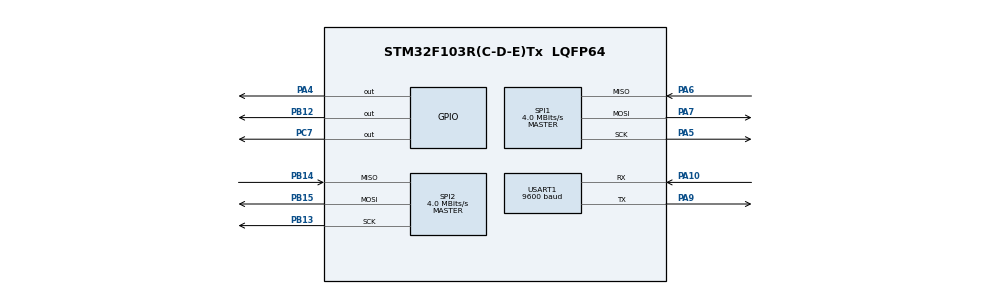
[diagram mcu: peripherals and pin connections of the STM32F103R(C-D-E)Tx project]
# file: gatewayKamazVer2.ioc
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FREERTOS.Tasks01=defaultTask,0,128,StartDefaultTask,Default,NULL
Mcu.Family=STM32F1
Mcu.Name=STM32F103R(C-D-E)Tx
Mcu.Package=LQFP64
NVIC.PriorityGroup=NVIC_PRIORITYGROUP_4
PA10.Mode=Asynchronous
PA10.Signal=USART1_RX
PA4.Signal=GPIO_Output
PA5.Mode=Full_Duplex_Master
PA5.Signal=SPI1_SCK
PA6.Mode=Full_Duplex_Master
PA6.Signal=SPI1_MISO
PA7.Mode=Full_Duplex_Master
PA7.Signal=SPI1_MOSI
PA9.Mode=Asynchronous
PA9.Signal=USART1_TX
PB12.Signal=GPIO_Output
PB13.Mode=Full_Duplex_Master
PB13.Signal=SPI2_SCK
PB14.Mode=Full_Duplex_Master
PB14.Signal=SPI2_MISO
PB15.Mode=Full_Duplex_Master
PB15.Signal=SPI2_MOSI
PC7.Signal=GPIO_Output
ProjectManager.HeapSize=0x200
ProjectManager.StackSize=0x400
ProjectManager.TargetToolchain=MDK-ARM V5
RCC.AHBFreq_Value=8000000
RCC.APB1Freq_Value=8000000
RCC.APB1TimFreq_Value=8000000
RCC.APB2Freq_Value=8000000
RCC.APB2TimFreq_Value=8000000
RCC.HCLKFreq_Value=8000000
SPI1.CalculateBaudRate=4.0 MBits/s
SPI1.Direction=SPI_DIRECTION_2LINES
SPI1.Mode=SPI_MODE_MASTER
SPI1.VirtualType=VM_MASTER
SPI2.CalculateBaudRate=4.0 MBits/s
SPI2.Direction=SPI_DIRECTION_2LINES
SPI2.Mode=SPI_MODE_MASTER
SPI2.VirtualType=VM_MASTER
USART1.BaudRate=9600
USART1.VirtualMode=VM_ASYNC
VP_FREERTOS_VS_ENABLE.Mode=Enabled
VP_SYS_VS_ND.Mode=No_Debug
board=gatewayKamazVer2

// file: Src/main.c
/**
  ******************************************************************************
  * File Name          : main.c
  * Description        : Main program body
  ******************************************************************************
  * This notice applies to any and all portions of this file
  * that are not between comment pairs USER CODE BEGIN and
  * USER CODE END. Other portions of this file, whether
  * inserted by the user or by software development tools
  * are owned by their respective copyright owners.
  *
  * Copyright (c) 2018 STMicroelectronics International N.V.
  * All rights reserved.
  *
  * Redistribution and use in source and binary forms, with or without
  * modification, are permitted, provided that the following conditions are met:
  *
  * 1. Redistribution of source code must retain the above copyright notice,
  *    this list of conditions and the following disclaimer.
  * 2. Redistributions in binary form must reproduce the above copyright notice,
  *    this list of conditions and the following disclaimer in the documentation
  *    and/or other materials provided with the distribution.
  * 3. Neither the name of STMicroelectronics nor the names of other
  *    contributors to this software may be used to endorse or promote products
  *    derived from this software without specific written permission.
  * 4. This software, including modifications and/or derivative works of this
  *    software, must execute solely and exclusively on microcontroller or
  *    microprocessor devices manufactured by or for STMicroelectronics.
  * 5. Redistribution and use of this software other than as permitted under
  *    this license is void and will automatically terminate your rights under
  *    this license.
  *
  * THIS SOFTWARE IS PROVIDED BY STMICROELECTRONICS AND CONTRIBUTORS "AS IS"
  * AND ANY EXPRESS, IMPLIED OR STATUTORY WARRANTIES, INCLUDING, BUT NOT
  * LIMITED TO, THE IMPLIED WARRANTIES OF MERCHANTABILITY, FITNESS FOR A
  * PARTICULAR PURPOSE AND NON-INFRINGEMENT OF THIRD PARTY INTELLECTUAL PROPERTY
  * RIGHTS ARE DISCLAIMED TO THE FULLEST EXTENT PERMITTED BY LAW. IN NO EVENT
  * SHALL STMICROELECTRONICS OR CONTRIBUTORS BE LIABLE FOR ANY DIRECT, INDIRECT,
  * INCIDENTAL, SPECIAL, EXEMPLARY, OR CONSEQUENTIAL DAMAGES (INCLUDING, BUT NOT
  * LIMITED TO, PROCUREMENT OF SUBSTITUTE GOODS OR SERVICES; LOSS OF USE, DATA,
  * OR PROFITS; OR BUSINESS INTERRUPTION) HOWEVER CAUSED AND ON ANY THEORY OF
  * LIABILITY, WHETHER IN CONTRACT, STRICT LIABILITY, OR TORT (INCLUDING
  * NEGLIGENCE OR OTHERWISE) ARISING IN ANY WAY OUT OF THE USE OF THIS SOFTWARE,
  * EVEN IF ADVISED OF THE POSSIBILITY OF SUCH DAMAGE.
  *
  ******************************************************************************
  */

#include "main.h"
#include "stm32f1xx_hal.h"
#include "cmsis_os.h"
#include "spi.h"
#include "usart.h"
#include "gpio.h"
#include "CANSPI.h"
#include "MCP2515.h"

/* USER CODE BEGIN PV */
/* Private variables ---------------------------------------------------------*/

/* USER CODE END PV */

void SystemClock_Config(void);
void MX_FREERTOS_Init(void);

/* USER CODE BEGIN PFP */
/* Private function prototypes -----------------------------------------------*/

/* USER CODE END PFP */

int main(void)
{

  /* MCU Configuration----------------------------------------------------------*/

  /* Reset of all peripherals, Initializes the Flash interface and the Systick. */
  HAL_Init();

  /* Configure the system clock */
  SystemClock_Config();

  /* Initialize all configured peripherals */
  MX_GPIO_Init();
  MX_USART1_UART_Init();
  MX_SPI1_Init();
  MX_SPI2_Init();

	if (CANSPI_Initialize())
		HAL_GPIO_WritePin(GPIOC,GPIO_PIN_7, GPIO_PIN_SET);

  /* Call init function for freertos objects (in freertos.c) */
  MX_FREERTOS_Init();

  /* Start scheduler */
  osKernelStart();

  /* We should never get here as control is now taken by the scheduler */

  /* Infinite loop */
  while (1)
  {

  }

}

/** System Clock Configuration
*/
void SystemClock_Config(void)
{

  RCC_OscInitTypeDef RCC_OscInitStruct;
  RCC_ClkInitTypeDef RCC_ClkInitStruct;

    /**Initializes the CPU, AHB and APB busses clocks
    */
  RCC_OscInitStruct.OscillatorType = RCC_OSCILLATORTYPE_HSI;
  RCC_OscInitStruct.HSIState = RCC_HSI_ON;
  RCC_OscInitStruct.HSICalibrationValue = 16;
  RCC_OscInitStruct.PLL.PLLState = RCC_PLL_NONE;
  if (HAL_RCC_OscConfig(&RCC_OscInitStruct) != HAL_OK)
  {
    _Error_Handler(__FILE__, __LINE__);
  }

    /**Initializes the CPU, AHB and APB busses clocks
    */
  RCC_ClkInitStruct.ClockType = RCC_CLOCKTYPE_HCLK|RCC_CLOCKTYPE_SYSCLK
                              |RCC_CLOCKTYPE_PCLK1|RCC_CLOCKTYPE_PCLK2;
  RCC_ClkInitStruct.SYSCLKSource = RCC_SYSCLKSOURCE_HSI;
  RCC_ClkInitStruct.AHBCLKDivider = RCC_SYSCLK_DIV1;
  RCC_ClkInitStruct.APB1CLKDivider = RCC_HCLK_DIV1;
  RCC_ClkInitStruct.APB2CLKDivider = RCC_HCLK_DIV1;

  if (HAL_RCC_ClockConfig(&RCC_ClkInitStruct, FLASH_LATENCY_0) != HAL_OK)
  {
    _Error_Handler(__FILE__, __LINE__);
  }

    /**Configure the Systick interrupt time
    */
  HAL_SYSTICK_Config(HAL_RCC_GetHCLKFreq()/1000);

    /**Configure the Systick
    */
  HAL_SYSTICK_CLKSourceConfig(SYSTICK_CLKSOURCE_HCLK);

  /* SysTick_IRQn interrupt configuration */
  HAL_NVIC_SetPriority(SysTick_IRQn, 15, 0);
}

void _Error_Handler(char * file, int line)
{
  while(1)
  {
  }
}

/************************ (C) COPYRIGHT STMicroelectronics *****END OF FILE****/

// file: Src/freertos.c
/**
  ******************************************************************************
  * File Name          : freertos.c
  * Description        : Code for freertos applications
  ******************************************************************************
  * This notice applies to any and all portions of this file
  * that are not between comment pairs USER CODE BEGIN and
  * USER CODE END. Other portions of this file, whether
  * inserted by the user or by software development tools
  * are owned by their respective copyright owners.
  *
  * Copyright (c) 2018 STMicroelectronics International N.V.
  * All rights reserved.
  *
  * Redistribution and use in source and binary forms, with or without
  * modification, are permitted, provided that the following conditions are met:
  *
  * 1. Redistribution of source code must retain the above copyright notice,
  *    this list of conditions and the following disclaimer.
  * 2. Redistributions in binary form must reproduce the above copyright notice,
  *    this list of conditions and the following disclaimer in the documentation
  *    and/or other materials provided with the distribution.
  * 3. Neither the name of STMicroelectronics nor the names of other
  *    contributors to this software may be used to endorse or promote products
  *    derived from this software without specific written permission.
  * 4. This software, including modifications and/or derivative works of this
  *    software, must execute solely and exclusively on microcontroller or
  *    microprocessor devices manufactured by or for STMicroelectronics.
  * 5. Redistribution and use of this software other than as permitted under
  *    this license is void and will automatically terminate your rights under
  *    this license.
  *
  * THIS SOFTWARE IS PROVIDED BY STMICROELECTRONICS AND CONTRIBUTORS "AS IS"
  * AND ANY EXPRESS, IMPLIED OR STATUTORY WARRANTIES, INCLUDING, BUT NOT
  * LIMITED TO, THE IMPLIED WARRANTIES OF MERCHANTABILITY, FITNESS FOR A
  * PARTICULAR PURPOSE AND NON-INFRINGEMENT OF THIRD PARTY INTELLECTUAL PROPERTY
  * RIGHTS ARE DISCLAIMED TO THE FULLEST EXTENT PERMITTED BY LAW. IN NO EVENT
  * SHALL STMICROELECTRONICS OR CONTRIBUTORS BE LIABLE FOR ANY DIRECT, INDIRECT,
  * INCIDENTAL, SPECIAL, EXEMPLARY, OR CONSEQUENTIAL DAMAGES (INCLUDING, BUT NOT
  * LIMITED TO, PROCUREMENT OF SUBSTITUTE GOODS OR SERVICES; LOSS OF USE, DATA,
  * OR PROFITS; OR BUSINESS INTERRUPTION) HOWEVER CAUSED AND ON ANY THEORY OF
  * LIABILITY, WHETHER IN CONTRACT, STRICT LIABILITY, OR TORT (INCLUDING
  * NEGLIGENCE OR OTHERWISE) ARISING IN ANY WAY OUT OF THE USE OF THIS SOFTWARE,
  * EVEN IF ADVISED OF THE POSSIBILITY OF SUCH DAMAGE.
  *
  ******************************************************************************
  */

#include "FreeRTOS.h"
#include "task.h"
#include "cmsis_os.h"
#include "usart.h"
#include "CANSPI.h"
#include "can.h"

osThreadId defaultTaskHandle;

/* USER CODE BEGIN Variables */

osThreadId xHandle;
xQueueHandle xMessageUsart;
xQueueHandle xMessageCAN = NULL;

unsigned char accel_pedal = 0;
float xbr_accel_demand = 0.0;
char tc_gear = 'N'; // current transmission gear

/* USER CODE END Variables */

void StartDefaultTask(void const * argument);

void MX_FREERTOS_Init(void); /* (MISRA C 2004 rule 8.1) */

/* USER CODE BEGIN FunctionPrototypes */
void vTaskSendMessageUSART(void* param);
void vTaskRecieveMessageUsart(void* param);
void vTaskSendMessageSPI1(void *param);
void vTaskRecieveMessageSPI1(void* param);

/* USER CODE END FunctionPrototypes */

/* Hook prototypes */

/* Init FreeRTOS */

void MX_FREERTOS_Init(void) {

  /* Create the thread(s) */
  /* definition and creation of defaultTask */
  osThreadDef(defaultTask, StartDefaultTask, osPriorityNormal, 0, 128);
  defaultTaskHandle = osThreadCreate(osThread(defaultTask), NULL);

  /* USER CODE BEGIN RTOS_THREADS */
  /* add threads, ... */
	xTaskCreate(vTaskSendMessageUSART, "Send a message to USART", configMINIMAL_STACK_SIZE, NULL, 1, &xHandle);
	xTaskCreate(vTaskRecieveMessageUsart, "Recieve a message to USART", configMINIMAL_STACK_SIZE, NULL, 0, &xHandle);
	xTaskCreate(vTaskRecieveMessageSPI1, "Send a message to SPI 1", configMINIMAL_STACK_SIZE, NULL, 0, &xHandle);
 	xTaskCreate(vTaskAddMessageCAN_EEC2, "Send EEC2 message to CAN", configMINIMAL_STACK_SIZE, NULL, 0, &xHandle);
 	xTaskCreate(vTaskAddMessageCAN_XBR, "Send XBR message to CAN", configMINIMAL_STACK_SIZE, NULL, 0, &xHandle);
 	xTaskCreate(vTaskAddMessageCAN_TC1, "Send TC1 message to CAN", configMINIMAL_STACK_SIZE, NULL, 0, &xHandle);

 /* USER CODE END RTOS_THREADS */

  /* USER CODE BEGIN RTOS_QUEUES */
  /* add queues, ... */
	 xMessageUsart = xQueueCreate(9, sizeof(unsigned char)); //Queue for send data on USART
	 xMessageCAN = xQueueCreate(9, sizeof(uCAN_MSG)); //Queue for send data on USART
  /* USER CODE END RTOS_QUEUES */
}

/* StartDefaultTask function */
void StartDefaultTask(void const * argument)
{

  for(;;)
  {
    osDelay(1);
  }
}

/* USER CODE BEGIN Application */
 void vTaskSendMessageUSART(void* param)
{
	uint8_t incommingData;
	portBASE_TYPE xStatus;
	const portTickType xTickWait = 100;

	while(1)
	{
		if (uxQueueMessagesWaiting(xMessageUsart)!=0)
		{
		}
		xStatus = xQueueReceive(xMessageUsart, &incommingData, xTickWait);
		if (xStatus == pdPASS)
		{
			HAL_UART_Transmit(&huart1, &incommingData, 1, 500);
		}
		taskYIELD();
	}

}

void vTaskRecieveMessageUsart(void* param)
{
	uint8_t outgoingData;
	portBASE_TYPE xStatus;
	while(1)
	{
		HAL_UART_Receive(&huart1, &outgoingData, 1, 500);
		xStatus = xQueueSendToBack(xMessageUsart, &outgoingData,0);
		if (xStatus !=pdPASS)
		{

		}
		taskYIELD();
	}
}

void vTaskSendMessageSPI1(void* param)
{
	uCAN_MSG incomingData;
	portBASE_TYPE xStatus;
	const portTickType xTickWait = 100;

	for(;;)
	{
		xStatus = xQueueReceive(xMessageCAN, &incomingData, xTickWait);
		if (xStatus == pdPASS)
		{
			CANSPI_Transmit(&incomingData);
		}
		taskYIELD();
	}
}

void vTaskRecieveMessageSPI1(void* param)
{
	while(1)
	{
	}
}
/* USER CODE END Application */

/************************ (C) COPYRIGHT STMicroelectronics *****END OF FILE****/
